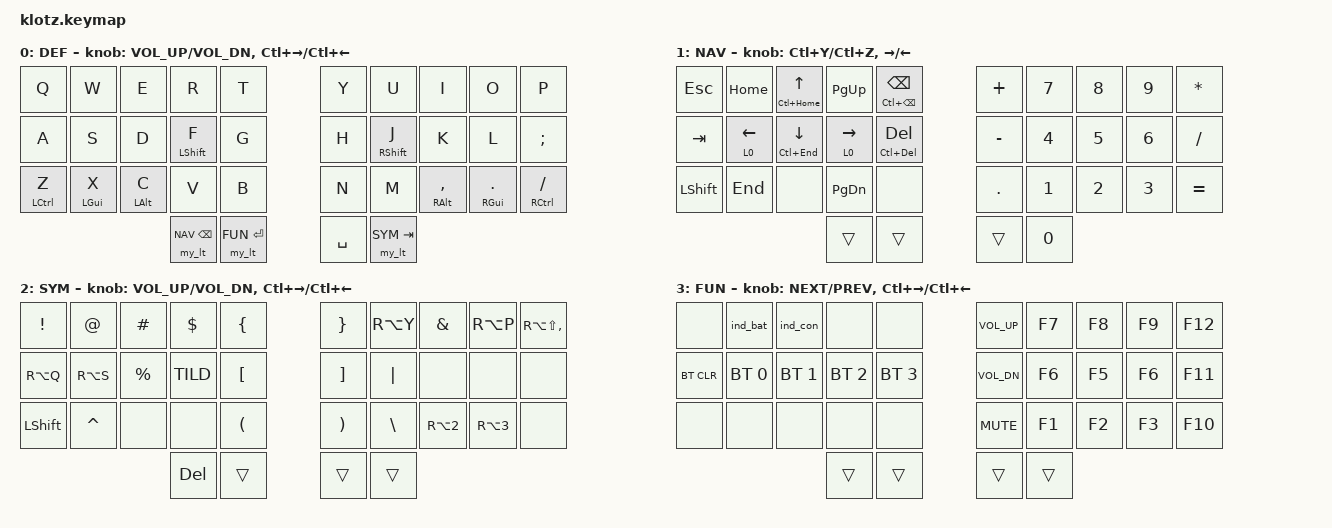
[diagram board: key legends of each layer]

//                                      █         ██        ▄▀▀▀▀▀▀▀▀▀▀█▀▀▀▀▀▀▀▀█▀▀▀▀▀▀▀▀▀▀█
//                                      █        █ █      ▄▀            ▀▄      █         █
//                                      █       █  █    ▄▀                ▀▄    █        █
//                                      █      █   █   █                    █   █       █
//                                      █     █    █   █                    █   █      █
//                                      █    █     █   █                    █   █  ▀▀▀█▀▀▀▀
//                                      █   █ █    █   █                    █   █    █
//                                      █  █   █   █   █                    █   █   █
//                                      █ █     █  █    ▀▄                ▄▀    █  █
//                                      ██       █ █      ▀▄            ▄▀      █ █
//                                      █         ██▄▄▄▄▄▄▄▄█▄▄▄▄▄▄▄▄▄▄▀        ██▄▄▄▄▄▄▄▄▄▄
//
// ▄▄▄▄▄▄▄▄▄▄▄▄▄▄▄▄▄▄▄▄▄▄▄▄▄▄▄▄▄▄▄▄▄▄▄▄▄▄▄▄▄▄▄▄▄▄▄▄▄▄▄▄▄▄▄▄▄▄▄▄▄▄▄▄▄▄▄▄▄▄▄▄▄▄▄▄▄▄▄▄▄▄▄▄▄▄▄▄▄▄▄▄▄▄▄▄▄▄▄▄▄▄▄▄▄▄▄▄▄▄▄▄▄▄▄▄▄▄▄▄▄▄▄▄▄


#include <behaviors.dtsi>
#include <dt-bindings/zmk/keys.h>
#include <dt-bindings/zmk/bt.h>
#include <dt-bindings/zmk/outputs.h>
#include <dt-bindings/zmk/backlight.h>
#include <behaviors/rgbled_widget.dtsi>
#include "zmk-helpers/helper.h"

#define DEF 0
#define NAV 1
#define SYM 2
#define FUN 3

/*                     34 KEY MATRIX

  ╭────────────────────┬────────────────────╮ 
  │  0   1   2   3   4 │  5   6   7   8   9 │ 
  │ 10  11  12  13  14 │ 15  16  17  18  19 │ 
  │ 20  21  22  23  24 │ 25  26  27  28  29 │ 
  ╰───────────╮ 30  31 │ 32  33 ╭───────────╯ 
              ╰────────┴────────╯              */

/* Nav cluster */
// Trigger tap-action on all interrupts.
#define MT_CORE                                                                \
  flavor = "tap-preferred";                                                    \
  tapping-term-ms = <170>;                                                     \
  quick-tap-ms = <100>;                                                        \
  hold-trigger-key-positions = <0>;

&mt {MT_CORE};

/ {
    behaviors {
        mts: mod_tap {
            compatible = "zmk,behavior-hold-tap";
            #binding-cells = <2>;
            flavor = "balanced";
            tapping-term-ms = <200>;
            bindings = <&kp>, <&kp>;
            display-name = "Mod-Tap";
            quick-tap-ms = <200>;
        };
        my_lt: my_layer_taps {
            compatible = "zmk,behavior-hold-tap";
            #binding-cells = <2>;
            flavor = "tap-preferred";
            tapping-term-ms = <160>;
            quick-tap-ms = <100>;
            bindings = <&mo &kp>, <&kp>;
        };
        hl: homerow_mods_left {
            compatible = "zmk,behavior-hold-tap";
            #binding-cells = <2>;
            flavor = "balanced";
            tapping-term-ms = <150>;
            quick-tap-ms = <100>;
            bindings = <&kp>, <&kp>;
            // opposite side hand keys
            hold-trigger-key-positions = <5 6 7 8 9 15 16 17 18 19 25 26 27 28 29 30 31 32 33>;
        };
        hr: homerow_mods_right {
            compatible = "zmk,behavior-hold-tap";
            #binding-cells = <2>;
            flavor = "balanced";
            tapping-term-ms = <150>;
            quick-tap-ms = <100>;
            bindings = <&kp>, <&kp>;
            // opposite side hand keys
            hold-trigger-key-positions = <0 1 2 3 4 10 11 12 13 14 20 21 22 23 24 30 31 32 33>;
        };
    };
};

// Mask CTRL on left/right hold to avoid accidental jumps to start/end of doc.
#define MASK_MODS(NAME, MODS, BINDING)                                         \
  ZMK_MOD_MORPH(NAME, bindings = <BINDING>, <BINDING>; mods = <MODS>;)

MASK_MODS(masked_home, (MOD_LCTL), &kp HOME)
MASK_MODS(masked_end,  (MOD_LCTL), &kp END)

ZMK_HOLD_TAP(mt_home, bindings = <&masked_home>, <&kp>; MT_CORE)
ZMK_HOLD_TAP(mt_end, bindings = <&masked_end>, <&kp>; MT_CORE)

#define NAV_LEFT  &mt_home 0   LEFT  // Tap: left  | Long-tap: start of line.
#define NAV_RIGHT &mt_end 0    RIGHT // Tap: right | Long-tap: end   of line.
#define NAV_UP    &mt LC(HOME) UP    // Tap: up    | Long-tap: start of doc.
#define NAV_DOWN  &mt LC(END)  DOWN  // Tap: down  | Long-tap: end   of doc.
#define NAV_BSPC  &mt LC(BSPC) BSPC  // Tap: bspc  | Long-tap: delete word bwd.
#define NAV_DEL   &mt LC(DEL)  DEL   // Tap: del   | Long-tap: delete word fwd

&mt {
  quick-tap-ms = <100>;
  global-quick-tap;
  flavor = "tap-preferred";
  tapping-term-ms = <170>;
};



// ▄▄▄▄▄▄▄▄▄▄▄▄▄▄▄▄▄▄▄▄▄▄▄▄▄▄▄▄▄▄▄▄▄▄▄▄▄▄▄▄▄▄▄▄▄▄▄▄▄▄▄▄▄▄▄▄▄▄▄▄▄▄▄▄▄▄▄▄▄▄▄▄▄▄▄▄▄▄▄▄▄▄▄▄▄▄▄▄▄▄▄▄▄▄▄▄▄▄▄▄▄▄▄▄▄▄▄▄▄▄▄▄▄▄▄▄▄▄▄▄▄▄▄▄▄


/* Keymap */
/{
       keymap {
            compatible = "zmk,keymap";
// ▄▄▄▄▄▄▄▄▄▄▄▄▄▄▄▄▄▄▄▄▄▄▄▄▄▄▄▄▄▄▄▄▄▄▄▄▄▄▄▄▄▄▄▄▄▄▄▄▄▄▄▄▄▄▄▄▄▄▄▄▄▄▄▄▄▄▄▄▄▄▄▄▄▄▄▄▄▄▄▄▄▄▄▄▄▄▄▄▄▄▄▄▄▄▄▄▄▄▄▄▄▄▄▄▄▄▄▄▄▄▄▄▄▄▄▄▄▄▄▄▄▄▄▄▄
base_layer {
// ┏━━━━━━━━━━━━━━━━━━━━━━━━━━━━━━━━━━━━━━━┓
    label= "DEF";
// ┗━━━━━━━━━━━━━━━━━━━━━━━━━━━━━━━━━━━━━━━┛
// ┏━━━━━━━━━━━┳━━━━━━━━━━━┳━━━━━━━━━━━┳━━━━━━━━━━━┳━━━━━━━━━━━┓   ┏━━━━━━━━━━━┳━━━━━━━━━━━┳━━━━━━━━━━━┳━━━━━━━━━━━┳━━━━━━━━━━━┓
// ┃     Q     ┃     W     ┃     E     ┃     R     ┃     T     ┃   ┃     Y     ┃     U     ┃     I     ┃     O     ┃     P     ┃
// ┣━━━━━━━━━━━╋━━━━━━━━━━━╋━━━━━━━━━━━╋━━━━━━━━━━━╋━━━━━━━━━━━┫   ┣━━━━━━━━━━━╋━━━━━━━━━━━╋━━━━━━━━━━━╋━━━━━━━━━━━╋━━━━━━━━━━━┫
// ┃     A     ┃     S     ┃     D     ┃     F     ┃     G     ┃   ┃     H     ┃     J     ┃     K     ┃     L     ┃     ;     ┃
// ┣━━━━━━━━━━━╋━━━━━━━━━━━╋━━━━━━━━━━━╋━━━━━━━━━━━╋━━━━━━━━━━━┫   ┣━━━━━━━━━━━╋━━━━━━━━━━━╋━━━━━━━━━━━╋━━━━━━━━━━━╋━━━━━━━━━━━┫
// ┃     Z     ┃     X     ┃     C     ┃     V     ┃     B     ┃   ┃     N     ┃     M     ┃     ,     ┃     .     ┃     /     ┃
// ┗━━━━━━━━━━━┻━━━━━━━━━━━┻━━━━━━━━━━━╋━━━━━━━━━━━╋━━━━━━━━━━━┫   ┣━━━━━━━━━━━╋━━━━━━━━━━━╋━━━━━━━━━━━┻━━━━━━━━━━━┻━━━━━━━━━━━┛
//                                     ┃ NAV/BSPC  ┃ FUN/ENTER ┃   ┃    SPC    ┃  SYM/TAB  ┃
//                                     ┗━━━━━━━━━━━┻━━━━━━━━━━━┛   ┗━━━━━━━━━━━┻━━━━━━━━━━━┛
 bindings = <
// ╷           ╷           ╷           ╷           ╷           ╷   ╷           ╷           ╷           ╷           ╷           ╷

    &kp Q        &kp W       &kp E       &kp R        &kp T          &kp Y       &kp U        &kp I       &kp O       &kp P
    &kp A        &kp S       &kp D       &mts LSHFT F &kp G          &kp H       &mts RSHFT J &kp K       &kp L       &kp SEMI
    &hl LCTRL Z  &hl LGUI X  &hl LALT C  &kp V        &kp B          &kp N       &kp M        &hr RALT COMMA   &hr RGUI DOT     &hr RCTRL FSLH
                                         &my_lt NAV BSPC &my_lt FUN RET    &kp SPACE   &my_lt SYM TAB
                        >;
            sensor-bindings = <&inc_dec_kp C_VOL_UP C_VOL_DN &inc_dec_kp LC(RIGHT) LC(LEFT)>;
                };

// ▄▄▄▄▄▄▄▄▄▄▄▄▄▄▄▄▄▄▄▄▄▄▄▄▄▄▄▄▄▄▄▄▄▄▄▄▄▄▄▄▄▄▄▄▄▄▄▄▄▄▄▄▄▄▄▄▄▄▄▄▄▄▄▄▄▄▄▄▄▄▄▄▄▄▄▄▄▄▄▄▄▄▄▄▄▄▄▄▄▄▄▄▄▄▄▄▄▄▄▄▄▄▄▄▄▄▄▄▄▄▄▄▄▄▄▄▄▄▄▄▄▄▄▄▄


nav_layer {
// ┏━━━━━━━━━━━━━━━━━━━━━━━━━━━━━━━━━━━━━━━┓
    label= "NAV";
// ┗━━━━━━━━━━━━━━━━━━━━━━━━━━━━━━━━━━━━━━━┛
// ┏━━━━━━━━━━━┳━━━━━━━━━━━┳━━━━━━━━━━━┳━━━━━━━━━━━┳━━━━━━━━━━━┓   ┏━━━━━━━━━━━┳━━━━━━━━━━━┳━━━━━━━━━━━┳━━━━━━━━━━━┳━━━━━━━━━━━┓
// ┃    ESC    ┃   HOME    ┃    UP     ┃   PG UP   ┃           ┃   ┃     +     ┃     7     ┃     8     ┃     9     ┃     *     ┃
// ┣━━━━━━━━━━━╋━━━━━━━━━━━╋━━━━━━━━━━━╋━━━━━━━━━━━╋━━━━━━━━━━━┫   ┣━━━━━━━━━━━╋━━━━━━━━━━━╋━━━━━━━━━━━╋━━━━━━━━━━━╋━━━━━━━━━━━┫
// ┃    TAB    ┃   LEFT    ┃   DOWN    ┃   RIGHT   ┃           ┃   ┃     -     ┃     4     ┃     5     ┃     6     ┃     =     ┃
// ┣━━━━━━━━━━━╋━━━━━━━━━━━╋━━━━━━━━━━━╋━━━━━━━━━━━╋━━━━━━━━━━━┫   ┣━━━━━━━━━━━╋━━━━━━━━━━━╋━━━━━━━━━━━╋━━━━━━━━━━━╋━━━━━━━━━━━┫
// ┃   SHIFT   ┃    END    ┃           ┃  PG DWN   ┃           ┃   ┃     .     ┃     1     ┃     2     ┃     3     ┃     /     ┃
// ┗━━━━━━━━━━━┻━━━━━━━━━━━┻━━━━━━━━━━━╋━━━━━━━━━━━╋━━━━━━━━━━━┫   ┣━━━━━━━━━━━╋━━━━━━━━━━━╋━━━━━━━━━━━┻━━━━━━━━━━━┻━━━━━━━━━━━┛
//                                     ┃     ▼     ┃     ▼     ┃   ┃     ▼     ┃     ▼     ┃
//                                     ┗━━━━━━━━━━━┻━━━━━━━━━━━┛   ┗━━━━━━━━━━━┻━━━━━━━━━━━┛
 bindings = <
// ╷           ╷           ╷           ╷            ╷          ╷   ╷           ╷           ╷           ╷          ╷           ╷

    &kp ESCAPE   &kp HOME     NAV_UP      &kp PG_UP     NAV_BSPC    &kp PLUS    &kp N7  &kp N8   &kp N9   &kp ASTERISK
    &kp TAB      NAV_LEFT     NAV_DOWN    NAV_RIGHT     NAV_DEL     &kp MINUS   &kp N4  &kp N5   &kp N6   &kp SLASH
    &kp LSHIFT   &kp END      &none       &kp PG_DN     &none       &kp DOT     &kp N1  &kp N2   &kp N3   &kp EQUAL
                                          &trans        &trans      &trans      &kp N0
                        >;
            sensor-bindings = <&inc_dec_kp LC(Y) LC(Z) &inc_dec_kp RIGHT LEFT>;
                };

// ▄▄▄▄▄▄▄▄▄▄▄▄▄▄▄▄▄▄▄▄▄▄▄▄▄▄▄▄▄▄▄▄▄▄▄▄▄▄▄▄▄▄▄▄▄▄▄▄▄▄▄▄▄▄▄▄▄▄▄▄▄▄▄▄▄▄▄▄▄▄▄▄▄▄▄▄▄▄▄▄▄▄▄▄▄▄▄▄▄▄▄▄▄▄▄▄▄▄▄▄▄▄▄▄▄▄▄▄▄▄▄▄▄▄▄▄▄▄▄▄▄▄▄▄▄


                sym_layer {
// ┏━━━━━━━━━━━━━━━━━━━━━━━━━━━━━━━━━━━━━━━┓
label= "SYM"                               ;
// ┗━━━━━━━━━━━━━━━━━━━━━━━━━━━━━━━━━━━━━━━┛
// ┏━━━━━━━━━━━┳━━━━━━━━━━━┳━━━━━━━━━━━┳━━━━━━━━━━━┳━━━━━━━━━━━┓   ┏━━━━━━━━━━━┳━━━━━━━━━━━┳━━━━━━━━━━━┳━━━━━━━━━━━┳━━━━━━━━━━━┓
// ┃    !      ┃     @     ┃     #     ┃     $     ┃     {     ┃   ┃     }     ┃     Ü     ┃     &     ┃     Ö     ┃     °     ┃
// ┣━━━━━━━━━━━╋━━━━━━━━━━━╋━━━━━━━━━━━╋━━━━━━━━━━━╋━━━━━━━━━━━┫   ┣━━━━━━━━━━━╋━━━━━━━━━━━╋━━━━━━━━━━━╋━━━━━━━━━━━╋━━━━━━━━━━━┫
// ┃    Ä      ┃     ß     ┃     %     ┃     ~     ┃     [     ┃   ┃     ]     ┃     |     ┃           ┃           ┃           ┃
// ┣━━━━━━━━━━━╋━━━━━━━━━━━╋━━━━━━━━━━━╋━━━━━━━━━━━╋━━━━━━━━━━━┫   ┣━━━━━━━━━━━╋━━━━━━━━━━━╋━━━━━━━━━━━╋━━━━━━━━━━━╋━━━━━━━━━━━┫
// ┃  LSHIFT   ┃     ^     ┃           ┃           ┃     (     ┃   ┃     )     ┃     \     ┃     ²     ┃     ³     ┃           ┃
// ┗━━━━━━━━━━━┻━━━━━━━━━━━┻━━━━━━━━━━━╋━━━━━━━━━━━╋━━━━━━━━━━━┫   ┣━━━━━━━━━━━╋━━━━━━━━━━━╋━━━━━━━━━━━┻━━━━━━━━━━━┻━━━━━━━━━━━┛
//                                     ┃    DEL    ┃     ▼     ┃   ┃     ▼     ┃     ▼     ┃
//                                     ┗━━━━━━━━━━━┻━━━━━━━━━━━┛   ┗━━━━━━━━━━━┻━━━━━━━━━━━┛
 bindings = <
// ╷           ╷           ╷           ╷           ╷           ╷   ╷           ╷           ╷           ╷           ╷           ╷

   &kp EXCL     &kp AT      &kp HASH     &kp DLLR    &kp LBRC       &kp RBRC    &kp RA(Y)   &kp AMPS    &kp RA(P)   &kp RA(LS(COMMA))
   &kp RA(Q)    &kp RA(S)   &kp PERCENT  &kp TILD    &kp LBKT       &kp RBKT    &kp PIPE    &none       &none    &none
   &kp LSHFT    &kp CARET   &none        &none       &kp LPAR       &kp RPAR    &kp BSLH    &kp RA(N2)  &kp RA(N3)  &none
                                         &kp DEL     &trans         &trans      &trans
                        >;
                sensor-bindings = <&inc_dec_kp C_VOL_UP C_VOL_DN &inc_dec_kp LC(RIGHT) LC(LEFT)>;
                };

// ▄▄▄▄▄▄▄▄▄▄▄▄▄▄▄▄▄▄▄▄▄▄▄▄▄▄▄▄▄▄▄▄▄▄▄▄▄▄▄▄▄▄▄▄▄▄▄▄▄▄▄▄▄▄▄▄▄▄▄▄▄▄▄▄▄▄▄▄▄▄▄▄▄▄▄▄▄▄▄▄▄▄▄▄▄▄▄▄▄▄▄▄▄▄▄▄▄▄▄▄▄▄▄▄▄▄▄▄▄▄▄▄▄▄▄▄▄▄▄▄▄▄▄▄▄


                function_layer {
// ┏━━━━━━━━━━━━━━━━━━━━━━━━━━━━━━━━━━━━━━━┓
label= "FUN"                               ;
// ┗━━━━━━━━━━━━━━━━━━━━━━━━━━━━━━━━━━━━━━━┛
// ┏━━━━━━━━━━━┳━━━━━━━━━━━┳━━━━━━━━━━━┳━━━━━━━━━━━┳━━━━━━━━━━━┓   ┏━━━━━━━━━━━┳━━━━━━━━━━━┳━━━━━━━━━━━┳━━━━━━━━━━━┳━━━━━━━━━━━┓
// ┃           ┃  ind_bat  ┃ ind_con   ┃           ┃           ┃   ┃   VOL UP  ┃    F7     ┃    F8     ┃     F9    ┃    F12    ┃
// ┣━━━━━━━━━━━╋━━━━━━━━━━━╋━━━━━━━━━━━╋━━━━━━━━━━━╋━━━━━━━━━━━┫   ┣━━━━━━━━━━━╋━━━━━━━━━━━╋━━━━━━━━━━━╋━━━━━━━━━━━╋━━━━━━━━━━━┫
// ┃ BT CLR    ┃  BT SEL 0 ┃ BT SEL 1  ┃ BT SEL 2  ┃ BT SEL 3  ┃   ┃  VOL DWN  ┃    F4     ┃    F5     ┃     F6    ┃    F11    ┃
// ┣━━━━━━━━━━━╋━━━━━━━━━━━╋━━━━━━━━━━━╋━━━━━━━━━━━╋━━━━━━━━━━━┫   ┣━━━━━━━━━━━╋━━━━━━━━━━━╋━━━━━━━━━━━╋━━━━━━━━━━━╋━━━━━━━━━━━┫
// ┃           ┃           ┃           ┃           ┃           ┃   ┃    MUTE   ┃    F1     ┃    F2     ┃     F3    ┃    F10    ┃
// ┗━━━━━━━━━━━┻━━━━━━━━━━━┻━━━━━━━━━━━╋━━━━━━━━━━━╋━━━━━━━━━━━┫   ┣━━━━━━━━━━━╋━━━━━━━━━━━╋━━━━━━━━━━━┻━━━━━━━━━━━┻━━━━━━━━━━━┛
//                                     ┃           ┃           ┃   ┃           ┃           ┃
//                                     ┗━━━━━━━━━━━┻━━━━━━━━━━━┛   ┗━━━━━━━━━━━┻━━━━━━━━━━━┛
 bindings = <
// ╷            ╷          ╷          ╷          ╷           ╷   ╷           ╷           ╷           ╷           ╷           ╷

    &none       &ind_bat   &ind_con   &none      &none            &kp C_VOL_UP &kp F7      &kp F8      &kp F9      &kp F12
    &bt BT_CLR  &bt BT_SEL 0 &bt BT_SEL 1 &bt BT_SEL 2 &bt BT_SEL 3 &kp C_VOL_DN &kp F6    &kp F5      &kp F6      &kp F11
    &none       &none      &none      &none      &none            &kp C_MUTE   &kp F1      &kp F2      &kp F3      &kp F10
                                      &trans     &trans          &trans       &trans
                        >;
            sensor-bindings = <&inc_dec_kp C_NEXT C_PREV &inc_dec_kp LC(RIGHT) LC(LEFT)>;
                };

// ▄▄▄▄▄▄▄▄▄▄▄▄▄▄▄▄▄▄▄▄▄▄▄▄▄▄▄▄▄▄▄▄▄▄▄▄▄▄▄▄▄▄▄▄▄▄▄▄▄▄▄▄▄▄▄▄▄▄▄▄▄▄▄▄▄▄▄▄▄▄▄▄▄▄▄▄▄▄▄▄▄▄▄▄▄▄▄▄▄▄▄▄▄▄▄▄▄▄▄▄▄▄▄▄▄▄▄▄▄▄▄▄▄▄▄▄▄▄▄▄▄▄▄▄▄

};
};

/ {
    macros {
        
        qusp: qusp {
            label = "quote space";
            compatible = "zmk,behavior-macro";
            #binding-cells = <0>;
            bindings
                = <&macro_tap &kp DQT>
                , <&macro_tap &kp SPACE>
                ;
        };
        sqsp: sqsp {
            label = "single quote space";
            compatible = "zmk,behavior-macro";
            #binding-cells = <0>;
            bindings
                = <&macro_tap &kp SQT>
                , <&macro_tap &kp SPACE>
                ;
        };

        mc_selw: mc_selw {
            compatible = "zmk,behavior-macro";
            #binding-cells = <0>;
            wait-ms = <10>;
            tap-ms = <10>;
            bindings =
                <&macro_tap>,
                <&kp LA(LEFT)>,
                <&macro_tap>,
                <&kp LA(RIGHT)>,
                <&macro_press>,
                <&kp LA(LS(LEFT))>,
                <&macro_pause_for_release>,
                <&macro_release>,
                <&kp LA(LS(LEFT))>,
                <&macro_tap>,
                <&sl 17>;
        };

        mc_seln: mc_seln {
            compatible = "zmk,behavior-macro";
            #binding-cells = <0>;
            wait-ms = <10>;
            tap-ms = <10>;
            bindings =
                <&macro_tap>,
                <&kp HOME>,
                <&macro_tap>,
                <&kp HOME>,
                <&macro_press>,
                <&kp LS(DOWN)>,
                <&macro_pause_for_release>,
                <&macro_release>,
                <&kp LS(DOWN)>,
                <&macro_tap>,
                <&sl 17>;
        };

        mc_delword: mc_delword {
            compatible = "zmk,behavior-macro";
            #binding-cells = <0>;
            wait-ms = <10>;
            tap-ms = <10>;
            bindings = <&macro_tap>, <&kp LA(BACKSPACE)>;
        };

        mc_joinwords: mc_joinwords {
            compatible = "zmk,behavior-macro";
            #binding-cells = <0>;
            wait-ms = <10>;
            tap-ms = <10>;
            bindings =
                <&macro_tap>,
                <&kp LA(LEFT)>,
                <&macro_tap>,
                <&kp BACKSPACE>,
                <&macro_tap>,
                <&kp LA(RIGHT)>;
        };

        selectline: selectline {
            compatible = "zmk,behavior-macro";
            #binding-cells = <0>;
            bindings = <&kp HOME &kp LS(END)>;
            label = "SELECTLINE";
        };

        selectword: selectword {
            compatible = "zmk,behavior-macro";
            #binding-cells = <0>;
            bindings = <&kp LC(RIGHT) &kp LC(LEFT) &kp LS(LC(RIGHT))>;
            label = "SELECTWORD";
        };
    };
};

/*                     34 KEY MATRIX

  ╭────────────────────┬────────────────────╮ 
  │  0   1   2   3   4 │  5   6   7   8   9 │ 
  │ 10  11  12  13  14 │ 15  16  17  18  19 │ 
  │ 20  21  22  23  24 │ 25  26  27  28  29 │ 
  ╰───────────╮ 30  31 │ 32  33 ╭───────────╯ 
              ╰────────┴────────╯              */

/ {
    combos {
        compatible = "zmk,combos";

        Minus {
            bindings = <&kp MINUS>;
            key-positions = <12 13>;
        };

        Underscore {
            bindings = <&kp UNDERSCORE>;
            key-positions = <16 17>;
        };

        LeftBrace {
            bindings = <&kp LEFT_BRACE>;
            key-positions = <3  4>;
        };

        LeftBracket {
            bindings = <&kp LEFT_BRACKET>;
            key-positions = <13 14>;
        };

        LeftParenthesis {
            bindings = <&kp LEFT_PARENTHESIS>;
            key-positions = <23 24>;
        };

        RightBrace {
            bindings = <&kp RIGHT_BRACE>;
            key-positions = <5 6>;
        };

        RightBracket {
            bindings = <&kp RIGHT_BRACKET>;
            key-positions = <15 16>;
        };

        RightParenthesis {
            bindings = <&kp RIGHT_PARENTHESIS>;
            key-positions = <25 26>;
        };

        DoubleQuotes {
            bindings = <&qusp>;
            key-positions = <22 23>;
        };

        Quote {
            bindings = <&sqsp>;
            key-positions = <26 27>;
        };

        equal {
            bindings = <&kp EQUAL>;
            key-positions = <27 28>;
        };

        WordBackspace {
            bindings = <&kp LC(BACKSPACE)>;
            key-positions = <7 8>;
        };

        selectline {
            bindings = <&selectline>;
            key-positions = <2 3>;
        };

        selectword {
            bindings = <&selectword>;
            key-positions = <6 7>;
        };

        capsword {
            bindings = <&caps_word>;
            key-positions = <13 16>;
        };

        Esc {
            bindings = <&kp ESCAPE>;
            key-positions = <1 2>;
        };

        Tab {
            bindings = <&kp TAB>;
            key-positions = <11 12>;
        };

        Del {
            bindings = <&kp DEL>;
            key-positions = <17 18>;
        };

        BkSpc {
            bindings = <&kp BSPC>;
            key-positions = <8  9>;
        };
    };
};
